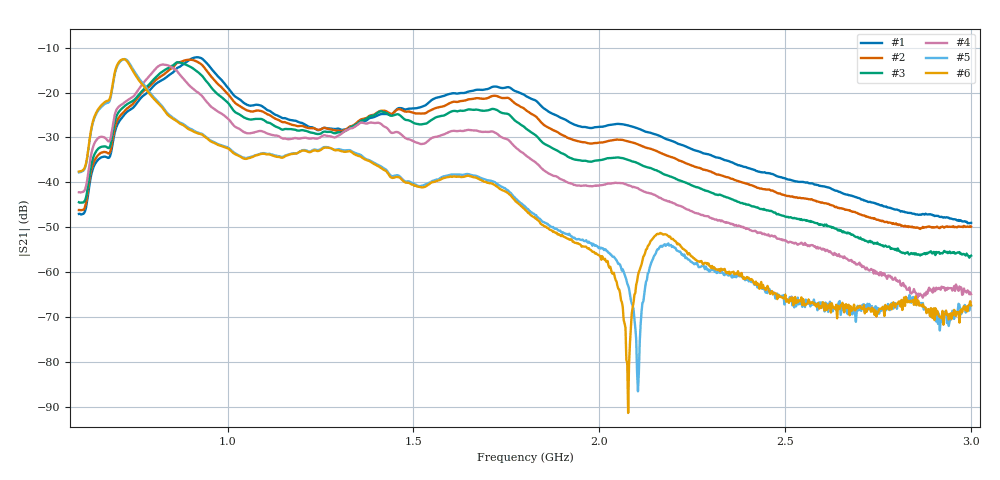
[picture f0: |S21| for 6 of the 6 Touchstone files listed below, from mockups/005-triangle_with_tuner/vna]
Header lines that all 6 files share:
#  HZ  S  RI  R  50.00
! Rohde & Schwarz ZVB8 2Ports - Version 2.81 - 1145.1010k08 SN: 100113
! Measurements: S11 S21 S12 S22
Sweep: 600 MHz to 3 GHz
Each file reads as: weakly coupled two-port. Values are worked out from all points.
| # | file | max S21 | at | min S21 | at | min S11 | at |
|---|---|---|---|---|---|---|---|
| 1 | triag_8_0_0_0.s2p | -12.14 dB | 917.1 MHz | -49.1 dB | 2.995 GHz | -14.7 dB | 777.8 MHz |
| 2 | triag_c_0_0_0.s2p | -12.69 dB | 897.9 MHz | -50.4 dB | 2.863 GHz | -12.7 dB | 775.4 MHz |
| 3 | triag_f_3_0_0.s2p | -13.25 dB | 866.7 MHz | -56.8 dB | 2.995 GHz | -9.5 dB | 688.9 MHz |
| 4 | triag_f_d_0_0.s2p | -13.76 dB | 825.8 MHz | -65.7 dB | 2.856 GHz | -10.2 dB | 686.5 MHz |
| 5 | triag_f_f_f_b.s2p | -12.54 dB | 722.5 MHz | -86.5 dB | 2.104 GHz | -9.4 dB | 686.5 MHz |
| 6 | triag_f_f_f_d.s2p | -12.57 dB | 720.1 MHz | -91.4 dB | 2.077 GHz | -9.4 dB | 684.1 MHz |
